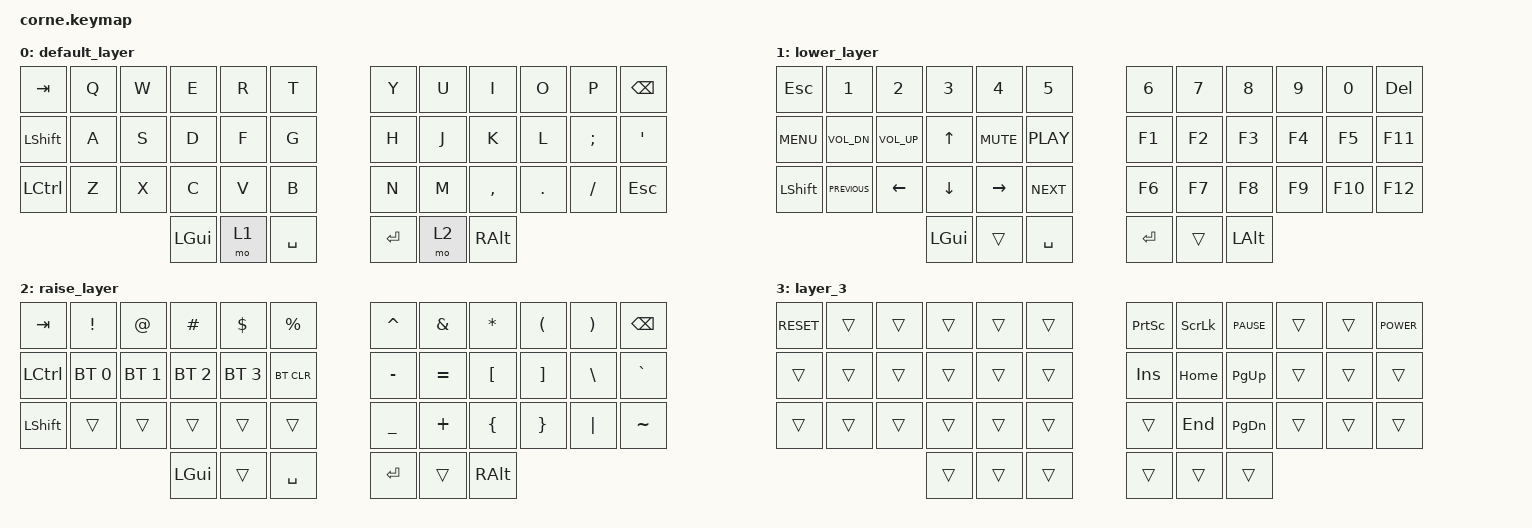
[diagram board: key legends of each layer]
/*
 * Copyright (c) 2020 The ZMK Contributors
 *
 * SPDX-License-Identifier: MIT
 */

#include <behaviors.dtsi>
#include <dt-bindings/zmk/bt.h>
#include <dt-bindings/zmk/keys.h>

/ {
    keymap {
        compatible = "zmk,keymap";

        default_layer {
            // -----------------------------------------------------------------------------------------
            // |  TAB |  Q  |  W  |  E  |  R  |  T  |   |  Y  |  U   |  I  |  O  |  P  | BSPC |
            // | CTRL |  A  |  S  |  D  |  F  |  G  |   |  H  |  J   |  K  |  L  |  ;  |  '   |
            // | SHFT |  Z  |  X  |  C  |  V  |  B  |   |  N  |  M   |  ,  |  .  |  /  | ESC  |
            //                    | GUI | LWR | SPC |   | ENT | RSE  | ALT |

            bindings = <
&kp TAB           &kp Q  &kp W  &kp E     &kp R  &kp T        &kp Y    &kp U  &kp I      &kp O    &kp P     &kp BSPC
&kp LEFT_SHIFT    &kp A  &kp S  &kp D     &kp F  &kp G        &kp H    &kp J  &kp K      &kp L    &kp SEMI  &kp SQT
&kp LEFT_CONTROL  &kp Z  &kp X  &kp C     &kp V  &kp B        &kp N    &kp M  &kp COMMA  &kp DOT  &kp FSLH  &kp ESC
                                &kp LGUI  &mo 1  &kp SPACE    &kp RET  &mo 2  &kp RALT
            >;
        };

        lower_layer {
            // -----------------------------------------------------------------------------------------
            // |  TAB |  1  |  2  |  3  |  4  |  5  |   |  6  |  7  |  8  |  9  |  0  | BSPC |
            // | BTCLR| BT1 | BT2 | BT3 | BT4 | BT5 |   | LFT | DWN |  UP | RGT |     |      |
            // | SHFT |     |     |     |     |     |   |     |     |     |     |     |      |
            //                    | GUI |     | SPC |   | ENT |     | ALT |

            bindings = <
&kp ESCAPE  &kp N1          &kp N2           &kp N3    &kp N4      &kp N5        &kp N6   &kp N7  &kp N8        &kp N9  &kp N0   &kp DEL
&kp K_MENU  &kp C_VOL_DN    &kp C_VOLUME_UP  &kp UP    &kp K_MUTE  &kp C_PLAY    &kp F1   &kp F2  &kp F3        &kp F4  &kp F5   &kp F11
&kp LSHFT   &kp C_PREVIOUS  &kp LEFT         &kp DOWN  &kp RIGHT   &kp C_NEXT    &kp F6   &kp F7  &kp F8        &kp F9  &kp F10  &kp F12
                                             &kp LGUI  &trans      &kp SPACE     &kp RET  &trans  &kp LEFT_ALT
            >;
        };

        raise_layer {
            // -----------------------------------------------------------------------------------------
            // |  TAB |  !  |  @  |  #  |  $  |  %  |   |  ^  |  &  |  *  |  (  |  )  | BSPC |
            // | CTRL |     |     |     |     |     |   |  -  |  =  |  [  |  ]  |  \  |  `   |
            // | SHFT |     |     |     |     |     |   |  _  |  +  |  {  |  }  | "|" |  ~   |
            //                    | GUI |     | SPC |   | ENT |     | ALT |

            bindings = <
&kp TAB    &kp EXCL      &kp AT        &kp HASH      &kp DLLR      &kp PRCNT     &kp CARET  &kp AMPS   &kp ASTRK  &kp LPAR  &kp RPAR  &kp BSPC
&kp LCTRL  &bt BT_SEL 0  &bt BT_SEL 1  &bt BT_SEL 2  &bt BT_SEL 3  &bt BT_CLR    &kp MINUS  &kp EQUAL  &kp LBKT   &kp RBKT  &kp BSLH  &kp GRAVE
&kp LSHFT  &trans        &trans        &trans        &trans        &trans        &kp UNDER  &kp PLUS   &kp LBRC   &kp RBRC  &kp PIPE  &kp TILDE
                                       &kp LGUI      &trans        &kp SPACE     &kp RET    &trans     &kp RALT
            >;
        };

        layer_3 {
            bindings = <
&kp C_RESET  &trans  &trans  &trans  &trans  &trans    &kp PRINTSCREEN  &kp SCROLLLOCK  &kp C_PAUSE    &trans  &trans  &kp C_POWER
&trans       &trans  &trans  &trans  &trans  &trans    &kp INS          &kp HOME        &kp PAGE_UP    &trans  &trans  &trans
&trans       &trans  &trans  &trans  &trans  &trans    &trans           &kp END         &kp PAGE_DOWN  &trans  &trans  &trans
                             &trans  &trans  &trans    &trans           &trans          &trans
            >;
        };
    };
};

/ {
    conditional_layers {
        compatible = "zmk,conditional-layers";

        tri_layer {
            if-layers = <1 2>;
            then-layer = <3>;
        };
    };
};
